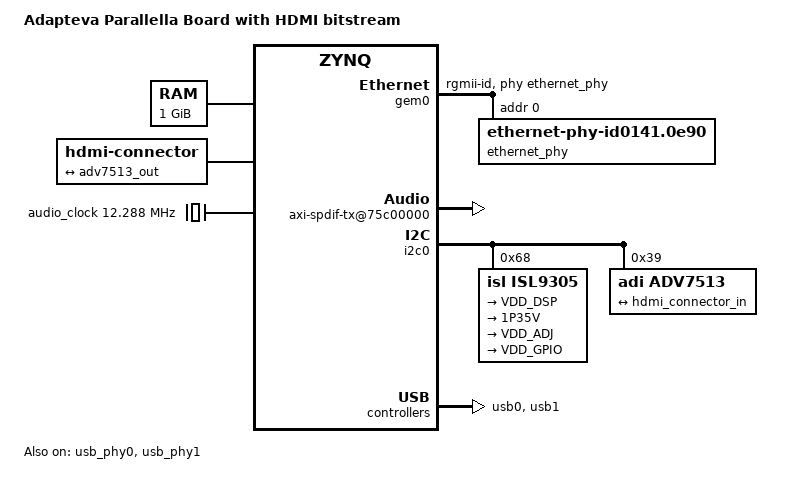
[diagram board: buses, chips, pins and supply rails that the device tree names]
/*
 * Copyright (c) 2014 SUSE LINUX Products GmbH
 * Copyright (c) 2015 SUSE Linux GmbH
 *
 * This software is licensed under the terms of the GNU General Public
 * License version 2, as published by the Free Software Foundation, and
 * may be copied, distributed, and modified under those terms.
 *
 * This program is distributed in the hope that it will be useful,
 * but WITHOUT ANY WARRANTY; without even the implied warranty of
 * MERCHANTABILITY or FITNESS FOR A PARTICULAR PURPOSE.  See the
 * GNU General Public License for more details.
 */
/dts-v1/;
#include "zynq-parallella1.dtsi"

/ {
	model = "Adapteva Parallella Board with HDMI bitstream";

	memory {
		device_type = "memory";
		reg = <0x0 0x40000000>;
	};

	hdmi-connector {
		compatible = "hdmi-connector";
		type = "d";
		label = "hdmi";

		port {
			hdmi_connector_in: endpoint {
				remote-endpoint = <&adv7513_out>;
			};
		};
	};
};

&clkc {
	fclk-enable = <0xf>;
	ps-clk-frequency = <33333333>;
};

&gem0 {
	status = "okay";
	phy-mode = "rgmii-id";
	phy-handle = <&ethernet_phy>;

	ethernet_phy: ethernet-phy@0 {
		/* Marvell 88E1318 */
		compatible = "ethernet-phy-id0141.0e90",
		             "ethernet-phy-ieee802.3-c22";
		reg = <0>;
		marvell,reg-init = <0x3 0x10 0xff00 0x1e>,
		                   <0x3 0x11 0xfff0 0xa>;
	};
};

&usb_phy0 {
	status = "okay";
};

&usb_phy1 {
	status = "okay";
};

&fpga_axi {
	axi_vdma: axi-vdma@43000000 {
		compatible = "xlnx,axi-vdma-1.00.a";
		reg = <0x43000000 0x1000>;
		#dma-cells = <1>;
		xlnx,num-fstores = <3>;
		xlnx,include-sg = <0>;
		xlnx,flush-fsync = <2>;

		dma-channel@43000000 {
			compatible = "xlnx,axi-vdma-mm2s-channel";
			interrupt-parent = <&intc>;
			interrupts = <0 59 4>;
			xlnx,datawidth = <64>;
			xlnx,include-dre = <0>;
			xlnx,genlock-mode = <0>;
		};
	};

	axi_clkgen: axi-clkgen@66000000 {
		compatible = "adi,axi-clkgen-1.00.a";
		reg = <0x66000000 0x10000>;
		#clock-cells = <0>;
		clocks = <&clkc 17>;
	};

	audio_clock: audio-clock {
		compatible = "fixed-clock";
		#clock-cells = <0>;
		clock-frequency = <12288000>;
	};

	axi-spdif-tx@75c00000 {
		compatible = "adi,axi-spdif-tx-1.00.a";
		reg = <0x75c00000 0x1000>;
		clocks = <&clkc 15>, <&audio_clock>;
		clock-names = "axi", "ref";
		dmas = <&dmac_s 0>;
		dma-names = "tx";
	};
};

&i2c0 {
	status = "okay";

	isl9305: isl9305@68 {
		compatible = "isl,isl9305";
		reg = <0x68>;

		regulators {
			dcd1 {
				regulator-name = "VDD_DSP";
				regulator-always-on;
			};
			dcd2 {
				regulator-name = "1P35V";
				regulator-always-on;
			};
			ldo1 {
				regulator-name = "VDD_ADJ";
			};
			ldo2 {
				regulator-name = "VDD_GPIO";
				regulator-always-on;
			};
		};
	};

	adv7513: hdmi@39 {
		compatible = "adi,adv7513";
		reg = <0x39>;
		adi,input-depth = <8>;
		adi,input-colorspace = "rgb";
		adi,input-clock = "1x";
		adi,input-style = <2>;
		adi,input-justification = "left";
		adi,clock-delay = <3>;

		ports {
			#address-cells = <1>;
			#size-cells = <0>;

			port@0 {
				reg = <0>;

				adv7513_in: endpoint {
					/*remote-endpoint = <&dpi_out>;*/
				};
			};

			port@1 {
				reg = <1>;

				adv7513_out: endpoint {
					remote-endpoint = <&hdmi_connector_in>;
				};
			};
		};
	};
};

&usb0 {
	status = "okay";
};

&usb1 {
	status = "okay";
};
